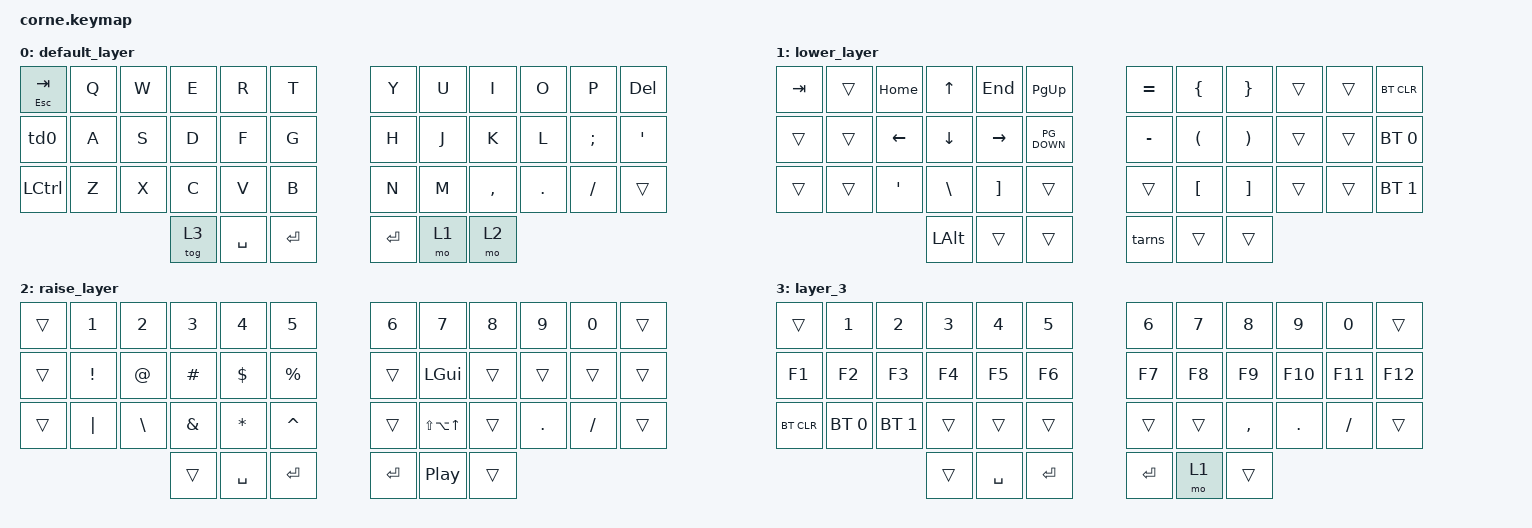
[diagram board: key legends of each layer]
#include <behaviors.dtsi>
#include <dt-bindings/zmk/keys.h>
#include <dt-bindings/zmk/bt.h>

#define DEFAULT 0
#define LOWER 1
#define RAISE 2
#define L3 3

&mt {
        tapping-term-ms = <400>;
};

/ {
        behaviors {
                td0: tap_dance_0 {
                        compatible = "zmk,behavior-tap-dance";
                        label = "TAP_DANCE_0";
                        #binding-cells = <0>;
                        tapping-term-ms = <150>;
                        bindings = <&kp LSHIFT>, <&kp CAPS>;
                };

                hm: homerow_mods {
                        compatible = "zmk,behavior-hold-tap";
                        label = "HOMEROW_MODS";
                        #binding-cells = <2>;
                        tapping-term-ms = <150>;
                        quick-tap-ms = <0>;
                        flavor = "tap-preferred";
                        bindings = <&kp>, <&kp>;
                };        
        };

        keymap {    
                compatible = "zmk,keymap";

                default_layer {
// -----------------------------------------------------------------------------------------
// |ESCTAB|  Q  |  W  |  E  |  R  |  T  |         |  Y  |  U   |  I  |  O  |  P  |  DEL |
// | SHFT |  A  |  S  |  D  |  F  |  G  |         |  H  |  J   |  K  |  L  |  ;  |  '   |
// | CTRL |  Z  |  X  |  C  |  V  |  B  |         |  N  |  M   |  ,  |  .  |  /  |      |
//                    | L3  |SPACE|ENTER|         |BKCSP|  L1  | L2  |

                        bindings = <
   &mt ESC TAB &kp Q &kp W &kp E   &kp R   &kp T        &kp Y &kp U  &kp I     &kp O   &kp P    &kp DEL
   &td0        &kp A &kp S &kp D   &kp F   &kp G        &kp H &kp J  &kp K     &kp L   &kp SEMI &kp SQT
   &kp LCTRL   &kp Z &kp X &kp C   &kp V   &kp B        &kp N &kp M  &kp COMMA &kp DOT &kp FSLH &trans
                   &tog L3    &kp SPACE   &kp ENTER      &kp RET &mo 1 &mo 2
                        >;
                };

                lower_layer {
// ----------------------------------------------------------------------------------
// |TAB |    | HOME| UP  | END | PGUP |         |     |  {  |  }  |     |      | BT_CLR  | 
// |    |    | LFT | DWN | RGT |PGDOWN|         |  =  |  (  |  )  |     |      |  BT_0   |
// |    |    |  '  |  \  |  ]  |      |         |  -  |  [  |  ]  |     |      |  BT_1   |
//                 | ALT |     |      |         |     |     |     |

                        bindings = <
   &kp TAB   &trans  &kp HOME  &kp UP   &kp END     &kp PG_UP       &kp EQUAL  &kp LBRC   &kp RBRC &trans  &trans  &bt BT_CLR
   &trans   &trans  &kp LEFT  &kp DOWN  &kp RIGHT  &kp PG_DOWN     &kp MINUS  &kp LPAR  &kp RPAR  &trans  &trans  &bt BT_SEL 0
   &trans &trans    &kp SQT   &kp BSLH  &kp RBKT   &trans          &trans     &kp LBKT  &kp RBKT  &trans  &trans  &bt BT_SEL 1
                              &kp LALT  &trans    &trans          &tarns     &trans      &trans
                        >;
                };

                raise_layer {
// -----------------------------------------------------------------------------------------
// |     |  1   |  2   |  3   |  4  | 5  |         |  6  |  7   |  8   |  9  | 0   |    |
// |     |  !   |  @   |  #   |  $  | %  |         |     |LGUI  |      |     |     |    |
// |     | '|'  |  \   |  &   |  *  | ^  |         |     |CPLINE|      |  .  |  /  |    |
//                     |      |SPACE|ENTR|         |BKSPC| PLAY |      |

                        bindings = <
   &trans   &kp N1    &kp N2       &kp N3    &kp N4   &kp N5            &kp N6     &kp N7          &kp N8      &kp N9   &kp N0   &trans
   &trans   &kp EXCL  &kp AT      &kp HASH   &kp DLLR  &kp PRCNT        &trans    &kp LGUI         &trans     &trans    &trans   &trans  
   &trans   &kp PIPE   &kp BSLH   &kp AMPS   &kp STAR  &kp CARET       &trans    &kp LS(LA(UP))   &trans      &kp DOT   &kp FSLH  &trans  
                            	 &trans     &kp SPACE   &kp ENTER      &kp RET   &kp C_PLAY_PAUSE  &trans
                        >;
                };

                layer_3 {
// ----------------------------------------------------------------------------------
// |      | 1  |  2  |  3   |  4  |  5  |         |  6  |  7  |  8  |  9  |  0  |     | 
// |  F1  | F2 | F3  |  F4  | F5  | F6  |         | F7  | F8  | F9  | F10 | F11 | F12 |
// |BTCLR |BT1 | BT2 |      |     |     |         |     |     |  ,  |  .  |  /  |     |
//                   |      |SPACE|ENTER|         |BKSPC| L1  |     |

                        bindings = <
   &trans      &kp N1        &kp N2         &kp N3    &kp N4    &kp N5      &kp N6    &kp N7  &kp N8    &kp N9   &kp N0   &trans
   &kp F1      &kp F2        &kp F3         &kp F4   &kp F5     &kp F6      &kp F7  &kp F8   &kp F9     &kp F10  &kp F11  &kp F12
   &bt BT_CLR  &bt BT_SEL 0  &bt BT_SEL 1   &trans    &trans    &trans      &trans   &trans  &kp COMMA  &kp DOT  &kp FSLH  &trans 
                            &trans   &kp SPACE  &kp ENTER        &kp RET   &mo 1    &trans
                        >;
                };
        };
};
